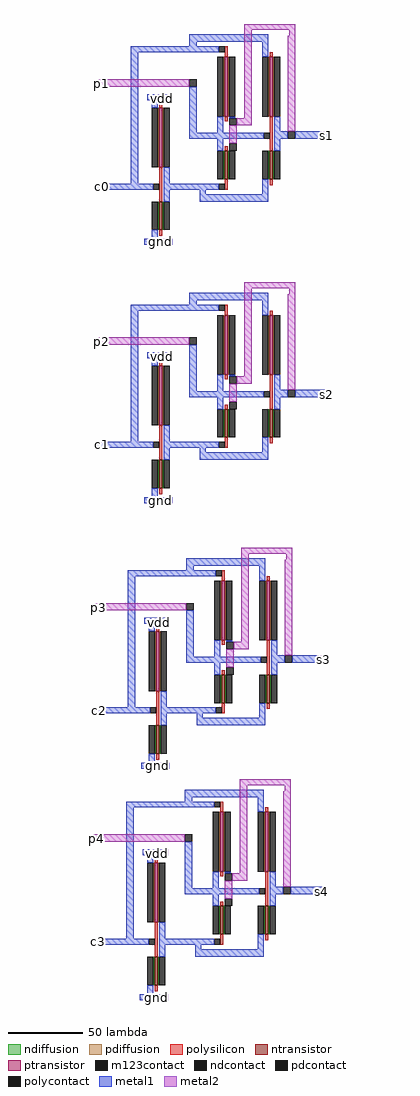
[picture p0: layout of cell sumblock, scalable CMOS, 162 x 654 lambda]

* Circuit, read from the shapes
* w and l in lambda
.subckt sumblock c0 c1 c2 c3 gnd p1 p2 p3 p4 s1 s2 s3 s4 vdd
M1 n1 c3 gnd VSUBS nfet w=19 l=2
M2 n2 c2 gnd VSUBS nfet w=19 l=2
M3 n3 c1 gnd VSUBS nfet w=19 l=2
M4 n4 c0 gnd VSUBS nfet w=19 l=2
M5 s4 n1 p4 VSUBS nfet w=19 l=2
M6 s3 n2 p3 VSUBS nfet w=19 l=2
M7 s2 n3 p2 VSUBS nfet w=19 l=2
M8 s1 n4 p1 VSUBS nfet w=19 l=2
M9 s4 p4 n1 VSUBS nfet w=19 l=2
M10 s3 p3 n2 VSUBS nfet w=19 l=2
M11 s2 p2 n3 VSUBS nfet w=19 l=2
M12 s1 p1 n4 VSUBS nfet w=19 l=2
M13 n1 c3 vdd NWELL pfet w=40 l=2
M14 n2 c2 vdd NWELL pfet w=40 l=2
M15 n3 c1 vdd NWELL pfet w=40 l=2
M16 n4 c0 vdd NWELL pfet w=40 l=2
M17 s4 c3 p4 NWELL pfet w=40 l=2
M18 s3 c2 p3 NWELL pfet w=40 l=2
M19 s2 c1 p2 NWELL pfet w=40 l=2
M20 s1 c0 p1 NWELL pfet w=40 l=2
M21 s4 p4 c3 NWELL pfet w=40 l=2
M22 s3 p3 c2 NWELL pfet w=40 l=2
M23 s2 p2 c1 NWELL pfet w=40 l=2
M24 s1 p1 c0 NWELL pfet w=40 l=2
.ends

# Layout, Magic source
magic
tech scmos
<< ntransistor >>
rect 0 433 2 452
rect 30 433 32 452
rect -44 399 -42 418
rect 0 260 2 279
rect 30 260 32 279
rect -44 226 -42 245
rect -2 82 0 101
rect 28 82 30 101
rect -46 48 -44 67
rect -3 -73 -1 -54
rect 27 -73 29 -54
rect -47 -107 -45 -88
<< ptransistor >>
rect -44 441 -42 481
rect 0 475 2 515
rect 30 475 32 515
rect -44 268 -42 308
rect 0 302 2 342
rect 30 302 32 342
rect -46 90 -44 130
rect -2 124 0 164
rect 28 124 30 164
rect -47 -65 -45 -25
rect -3 -31 -1 9
rect 27 -31 29 9
<< ndiffusion >>
rect -1 433 0 452
rect 2 433 3 452
rect 29 433 30 452
rect 32 433 33 452
rect -45 399 -44 418
rect -42 399 -41 418
rect -1 260 0 279
rect 2 260 3 279
rect 29 260 30 279
rect 32 260 33 279
rect -45 226 -44 245
rect -42 226 -41 245
rect -3 82 -2 101
rect 0 82 1 101
rect 27 82 28 101
rect 30 82 31 101
rect -47 48 -46 67
rect -44 48 -43 67
rect -4 -73 -3 -54
rect -1 -73 0 -54
rect 26 -73 27 -54
rect 29 -73 30 -54
rect -48 -107 -47 -88
rect -45 -107 -44 -88
<< pdiffusion >>
rect -45 441 -44 481
rect -42 441 -41 481
rect -1 475 0 515
rect 2 475 3 515
rect 29 475 30 515
rect 32 475 33 515
rect -45 268 -44 308
rect -42 268 -41 308
rect -1 302 0 342
rect 2 302 3 342
rect 29 302 30 342
rect 32 302 33 342
rect -47 90 -46 130
rect -44 90 -43 130
rect -3 124 -2 164
rect 0 124 1 164
rect 27 124 28 164
rect 30 124 31 164
rect -48 -65 -47 -25
rect -45 -65 -44 -25
rect -4 -31 -3 9
rect -1 -31 0 9
rect 26 -31 27 9
rect 29 -31 30 9
<< ndcontact >>
rect -5 433 -1 452
rect 3 433 7 452
rect 25 433 29 452
rect 33 433 37 452
rect -49 399 -45 418
rect -41 399 -37 418
rect -5 260 -1 279
rect 3 260 7 279
rect 25 260 29 279
rect 33 260 37 279
rect -49 226 -45 245
rect -41 226 -37 245
rect -7 82 -3 101
rect 1 82 5 101
rect 23 82 27 101
rect 31 82 35 101
rect -51 48 -47 67
rect -43 48 -39 67
rect -8 -73 -4 -54
rect 0 -73 4 -54
rect 22 -73 26 -54
rect 30 -73 34 -54
rect -52 -107 -48 -88
rect -44 -107 -40 -88
<< pdcontact >>
rect -49 441 -45 481
rect -41 441 -37 481
rect -5 475 -1 515
rect 3 475 7 515
rect 25 475 29 515
rect 33 475 37 515
rect -49 268 -45 308
rect -41 268 -37 308
rect -5 302 -1 342
rect 3 302 7 342
rect 25 302 29 342
rect 33 302 37 342
rect -51 90 -47 130
rect -43 90 -39 130
rect -7 124 -3 164
rect 1 124 5 164
rect 23 124 27 164
rect 31 124 35 164
rect -52 -65 -48 -25
rect -44 -65 -40 -25
rect -8 -31 -4 9
rect 0 -31 4 9
rect 22 -31 26 9
rect 30 -31 34 9
<< polysilicon >>
rect 0 515 2 522
rect 30 515 32 518
rect -44 481 -42 484
rect 0 472 2 475
rect 0 452 2 455
rect 30 452 32 475
rect -44 418 -42 441
rect 0 426 2 433
rect 30 429 32 433
rect -44 395 -42 399
rect 0 342 2 349
rect 30 342 32 345
rect -44 308 -42 311
rect 0 299 2 302
rect 0 279 2 282
rect 30 279 32 302
rect -44 245 -42 268
rect 0 253 2 260
rect 30 256 32 260
rect -44 222 -42 226
rect -2 164 0 171
rect 28 164 30 167
rect -46 130 -44 133
rect -2 121 0 124
rect -2 101 0 104
rect 28 101 30 124
rect -46 67 -44 90
rect -2 75 0 82
rect 28 78 30 82
rect -46 44 -44 48
rect -3 9 -1 16
rect 27 9 29 12
rect -47 -25 -45 -22
rect -3 -34 -1 -31
rect -3 -54 -1 -51
rect 27 -54 29 -31
rect -47 -88 -45 -65
rect -3 -80 -1 -73
rect 27 -77 29 -73
rect -47 -111 -45 -107
<< polycontact >>
rect -4 518 0 522
rect 26 460 30 464
rect -48 426 -44 430
rect -4 426 0 430
rect -4 345 0 349
rect 26 287 30 291
rect -48 253 -44 257
rect -4 253 0 257
rect -6 167 -2 171
rect 24 109 28 113
rect -50 75 -46 79
rect -6 75 -2 79
rect -7 12 -3 16
rect 23 -46 27 -42
rect -51 -80 -47 -76
rect -7 -80 -3 -76
<< metal1 >>
rect -24 525 29 530
rect -24 522 -19 525
rect -63 518 -4 522
rect -63 430 -58 518
rect 25 515 29 525
rect -52 486 -35 490
rect -49 481 -45 486
rect -24 464 -19 495
rect -5 464 -1 475
rect 3 474 7 475
rect 33 465 37 475
rect -24 460 26 464
rect 33 460 42 465
rect 47 460 71 465
rect -41 430 -37 441
rect -5 452 -1 460
rect 33 452 37 460
rect -86 426 -48 430
rect -41 426 -4 430
rect -41 418 -37 426
rect -17 423 -13 426
rect 25 423 29 433
rect -17 418 29 423
rect -49 393 -45 399
rect -54 389 -35 393
rect -24 352 29 357
rect -24 349 -19 352
rect -63 345 -4 349
rect -63 257 -58 345
rect 25 342 29 352
rect -52 313 -35 317
rect -49 308 -45 313
rect -24 291 -19 322
rect -5 291 -1 302
rect 3 301 7 302
rect 33 292 37 302
rect -24 287 26 291
rect 33 287 42 292
rect 47 287 71 292
rect -41 257 -37 268
rect -5 279 -1 287
rect 33 279 37 287
rect -86 253 -48 257
rect -41 253 -4 257
rect -41 245 -37 253
rect -17 250 -13 253
rect 25 250 29 260
rect -17 245 29 250
rect -49 220 -45 226
rect -54 216 -35 220
rect -26 174 27 179
rect -26 171 -21 174
rect -65 167 -6 171
rect -65 79 -60 167
rect 23 164 27 174
rect -54 135 -37 139
rect -51 130 -47 135
rect -26 113 -21 144
rect -7 113 -3 124
rect 1 123 5 124
rect 31 114 35 124
rect -26 109 24 113
rect 31 109 40 114
rect 45 109 69 114
rect -43 79 -39 90
rect -7 101 -3 109
rect 31 101 35 109
rect -88 75 -50 79
rect -43 75 -6 79
rect -43 67 -39 75
rect -19 72 -15 75
rect 23 72 27 82
rect -19 67 27 72
rect -51 42 -47 48
rect -56 38 -37 42
rect -27 19 26 24
rect -27 16 -22 19
rect -66 12 -7 16
rect -66 -76 -61 12
rect 22 9 26 19
rect -55 -20 -38 -16
rect -52 -25 -48 -20
rect -27 -42 -22 -11
rect -8 -42 -4 -31
rect 0 -32 4 -31
rect 30 -41 34 -31
rect -27 -46 23 -42
rect 30 -46 39 -41
rect 44 -46 68 -41
rect -44 -76 -40 -65
rect -8 -54 -4 -46
rect 30 -54 34 -46
rect -89 -80 -51 -76
rect -44 -80 -7 -76
rect -44 -88 -40 -80
rect -20 -83 -16 -80
rect 22 -83 26 -73
rect -20 -88 26 -83
rect -52 -113 -48 -107
rect -57 -117 -38 -113
<< metal2 >>
rect 13 533 47 537
rect -88 495 -24 500
rect 13 474 18 533
rect 43 529 47 533
rect 8 469 18 474
rect 3 457 8 469
rect 42 465 47 529
rect 13 360 47 364
rect -88 322 -24 327
rect 13 301 18 360
rect 43 356 47 360
rect 8 296 18 301
rect 3 284 8 296
rect 42 292 47 356
rect 11 182 45 186
rect -90 144 -26 149
rect 11 123 16 182
rect 41 178 45 182
rect 6 118 16 123
rect 1 106 6 118
rect 40 114 45 178
rect 10 27 44 31
rect -91 -11 -27 -6
rect 10 -32 15 27
rect 40 23 44 27
rect 5 -37 15 -32
rect 0 -49 5 -37
rect 39 -41 44 23
<< m123contact >>
rect -24 495 -19 500
rect 3 469 8 474
rect 42 460 47 465
rect 3 452 8 457
rect -24 322 -19 327
rect 3 296 8 301
rect 42 287 47 292
rect 3 279 8 284
rect -26 144 -21 149
rect 1 118 6 123
rect 40 109 45 114
rect 1 101 6 106
rect -27 -11 -22 -6
rect 0 -37 5 -32
rect 39 -46 44 -41
rect 0 -54 5 -49
<< labels >>
rlabel metal1 -82 428 -82 428 1 c0
rlabel metal2 -83 497 -83 497 3 p1
rlabel metal1 -42 487 -42 487 1 vdd
rlabel metal1 -43 391 -43 391 1 gnd
rlabel metal1 68 462 68 462 7 s1
rlabel metal1 -42 314 -42 314 1 vdd
rlabel metal1 -43 218 -43 218 1 gnd
rlabel metal1 -44 136 -44 136 1 vdd
rlabel metal1 -45 40 -45 40 1 gnd
rlabel metal1 -45 -19 -45 -19 1 vdd
rlabel metal1 -46 -115 -46 -115 1 gnd
rlabel metal2 -83 324 -83 324 1 p2
rlabel metal1 -82 255 -82 255 1 c1
rlabel metal2 -85 146 -85 146 1 p3
rlabel metal1 -84 77 -84 77 1 c2
rlabel metal2 -86 -9 -86 -9 3 p4
rlabel metal1 -85 -78 -85 -78 1 c3
rlabel metal1 65 -44 65 -44 1 s4
rlabel metal1 66 111 66 111 7 s3
rlabel metal1 68 289 68 289 7 s2
<< end >>
